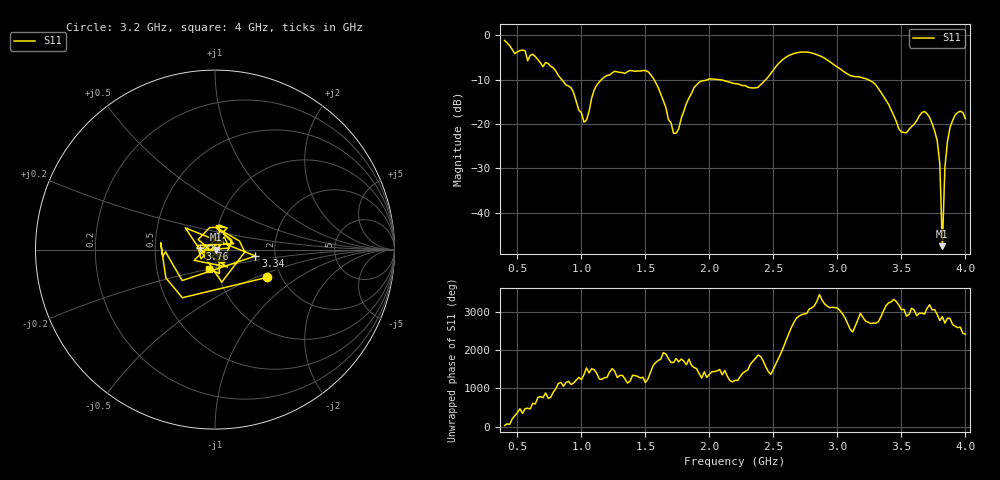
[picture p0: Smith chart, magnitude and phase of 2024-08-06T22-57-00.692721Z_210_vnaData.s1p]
!Created with skrf (http://scikit-rf.org).
# Hz S RI R 50.0
!freq ReS11 ImS11
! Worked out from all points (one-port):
!   181 points, 400 MHz to 4 GHz, reference 50 ohm
!   lowest |S11| = -47.5 dB at 3.82 GHz (marker M1), VSWR 1.01, Z = 50.4 - j0.0345 ohm
!   |S11| at or under -10 dB: 1.567 GHz to 1.987 GHz (419.6 MHz wide, 23.6 % of centre); 2.071 GHz to 2.44 GHz (368.5 MHz wide, 16.3 % of centre); 3.239 GHz to end of sweep (the widest 3 of 4)
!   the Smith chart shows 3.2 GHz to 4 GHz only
!   S11 on the Smith chart (normalised r, x): 3.2 GHz: 1.69, -0.59; 3.34 GHz: 1.58, -0.12; 3.76 GHz: 0.85, +0.01; 4 GHz: 0.91, -0.20
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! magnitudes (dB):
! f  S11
! 400 MHz  -1.2
! 860 MHz  -10.5
! 920 MHz  -11.9
! 1.02 GHz  -19.6
! 1.12 GHz  -11.3
! 1.3 GHz  -8.4
! 1.52 GHz  -8.2
! 1.6 GHz  -11.8
! 1.72 GHz  -22.1
! 1.76 GHz  -21.1
! 1.92 GHz  -10.6
! 2.2 GHz  -10.9
! 2.38 GHz  -11.7
! 2.66 GHz  -4.1
! 2.86 GHz  -4.6
! 3.1 GHz  -9.1
! 3.2 GHz  -9.6
! 3.34 GHz  -12.8
! 3.48 GHz  -21.1
! 3.56 GHz  -21.2
! 3.68 GHz  -17.2
! 3.76 GHz  -21.6
! 3.8 GHz  -28.9
! 3.82 GHz  -47.5
! 3.84 GHz  -29.7
! 3.86 GHz  -23.9
! 3.92 GHz  -18.0
! 4 GHz  -18.8
